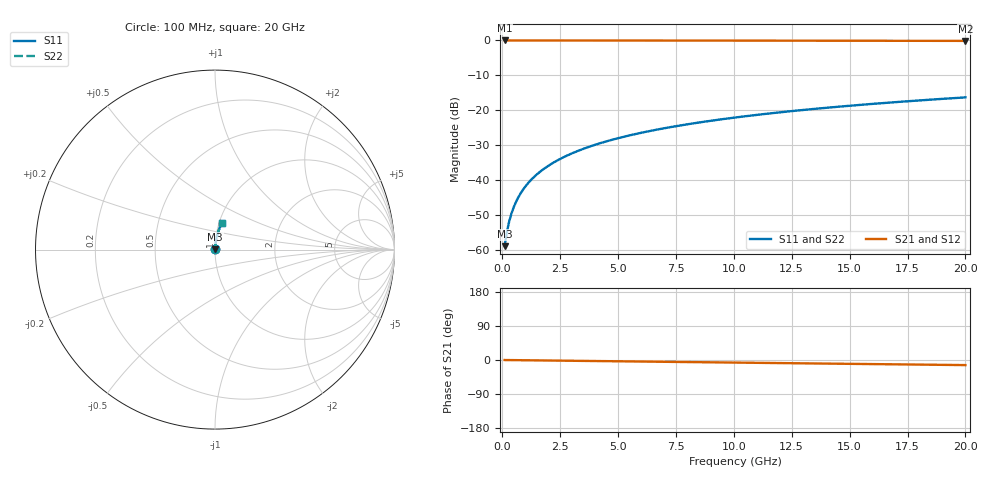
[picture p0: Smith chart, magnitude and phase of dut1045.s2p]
! Touchstone file exported from HFSS 2026.1.0
!  File:  C:/ffzhzh/LocalFiles/Ansys_Project_Files/temp_train_TSV_1045_1783189357_18472.aedt
!  Generated:  02:24:48 AM Jul  5, 2026
!  Design:  TSV
!  Project:  temp_train_TSV_1045_1783189357_18472
! Variables:
!  h_bsmrdl = 2um
!  h_ox = 20um
!  h_rdl = 5um
!  h_sub = 97.22um
!  h_tmrdl = 5um
!  h_tsv = 97.22um
!  h_via = 3um
!  l_bsmrdl = 300um
!  l_sub = 407.66um
!  l_tmrdl = 200um
!  m_sub = 200um
!  pitch = 59.64um
!  r_tsv = 3.83um
!  s_tmrdl = 10um
!  w_bsmrdl = 18um
!  w_sub = 500um
!  w_tmrdl = 12um
!  x_tsv_center1 = 206um
!  x_tsv_center2 = 524um
!  x_tsv_center3 = 736um
!  x_tsv_center4 = 1054um
!  x_tsv_center5 = 1266um
!  x_tsv_center6 = 1584um
# GHz S MA R 50.000000
! Terminal data exported
! Port[1] = TSV1_1_T1
! Port[2] = TSV1_1_T2
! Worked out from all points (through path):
!   200 points, 100 MHz to 20 GHz, reference 50 ohm
!   highest |S21| = -0.01 dB at 100 MHz (marker M1); lowest = -0.1 dB at 20 GHz (marker M2)
!   group delay of S21, straight-line fit = 1.86 ps
!   lowest |S11| = -58.9 dB at 100 MHz (marker M3), VSWR 1.00, Z = 50.1 + j0.0819 ohm
!   |S11| at or under -10 dB: start of sweep to end of sweep
!   |S22| runs from -58.9 to -16.3 dB; largest |S21 - S12| = 5e-15
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0.1  0.001131 46.3  0.9992 -0.1  0.9992 -0.1  0.001131 46.3
! Gamma 0 0 0 0
! Port Impedance 50 0 50 0
0.2  0.001815 64.1  0.9992 -0.1  0.9992 -0.1  0.001815 64.1
0.3  0.002573 71.7  0.9992 -0.2  0.9992 -0.2  0.002573 71.7
0.4  0.003353 75.7  0.9992 -0.3  0.9992 -0.3  0.003353 75.7
0.5  0.004141 78.2  0.9992 -0.3  0.9992 -0.3  0.004141 78.2
0.7  0.005729 81.1  0.9991 -0.5  0.9991 -0.5  0.005729 81.1
0.8  0.006526 82.0  0.9991 -0.6  0.9991 -0.6  0.006526 82.0
1  0.008123 83.2  0.9991 -0.7  0.9991 -0.7  0.008123 83.2
1.2  0.009722 83.9  0.9991 -0.8  0.9991 -0.8  0.009722 83.9
1.4  0.01132 84.4  0.999 -1.0  0.999 -1.0  0.01132 84.4
1.7  0.01372 84.9  0.9989 -1.2  0.9989 -1.2  0.01372 84.9
2  0.01612 85.1  0.9989 -1.4  0.9989 -1.4  0.01612 85.1
2.7  0.02169 85.2  0.9987 -1.9  0.9987 -1.9  0.02169 85.2
3.5  0.02803 85.1  0.9984 -2.4  0.9984 -2.4  0.02803 85.1
4.2  0.03354 84.8  0.9981 -2.9  0.9981 -2.9  0.03354 84.8
5  0.0398 84.4  0.9977 -3.4  0.9977 -3.4  0.0398 84.4
6.8  0.05377 83.4  0.9967 -4.7  0.9967 -4.7  0.05377 83.4
8.3  0.06531 82.5  0.9958 -5.7  0.9958 -5.7  0.06531 82.5
10.1  0.07907 81.5  0.9946 -6.9  0.9946 -6.9  0.07907 81.5
13.4  0.104 79.5  0.992 -9.1  0.992 -9.1  0.104 79.5
16.7  0.1287 77.4  0.9888 -11.3  0.9888 -11.3  0.1287 77.4
20  0.1529 75.4  0.9851 -13.4  0.9851 -13.4  0.1529 75.4
